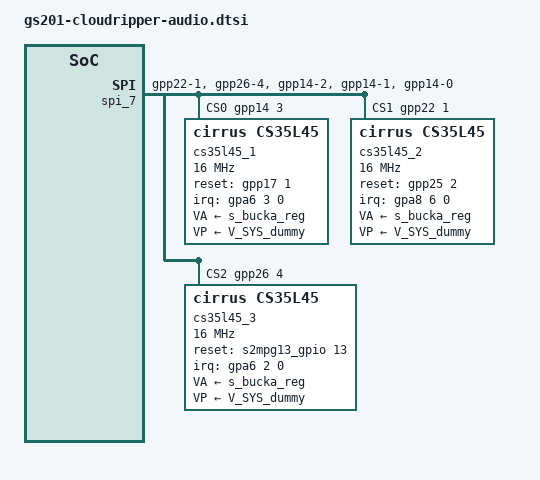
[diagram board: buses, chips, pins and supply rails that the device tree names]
// SPDX-License-Identifier: GPL-2.0-only
/*
 * Google GS201 Cloudripper-specific audio device tree source
 *
 * Copyright (c) 2021 Google, LLC
 *		https://www.google.com
 *
*/

#include <dt-bindings/pinctrl/samsung.h>
#include <dt-bindings/gpio/gpio.h>
#include <dt-bindings/sound/google-aoc.h>

&dai_be_tdm0_rx {
	codec {
		sound-dai = <&cs35l45_1 0>,
			<&cs35l45_2 0>;
	};
};

&dai_be_tdm0_tx {
	codec {
		sound-dai = <&cs35l45_1 0>,
			<&cs35l45_2 0>;
	};
};

&aoc_snd_card {
	clks {
		sys {
			sys@cs35l45_1 {
				comp = <&cs35l45_1>;
				src = "BCLK";
				/* clk id */
				id = <0>;
				/* clk source */
				srcid = <0>;
				/* in clk multiple */
				in_mul = <1>;
				/* out clk multiple */
				out_mul = <1>;
			};
			sys@cs35l45_2 {
				comp = <&cs35l45_2>;
				src = "BCLK";
				/* clk id */
				id = <0>;
				/* clk source */
				srcid = <0>;
				/* in clk multiple */
				in_mul = <1>;
				/* out clk multiple */
				out_mul = <1>;
			};
			sys@cs35l45_3 {
				comp = <&cs35l45_3>;
				src = "BCLK";
				/* clk id */
				id = <0>;
				/* clk source */
				srcid = <0>;
				/* in clk multiple */
				in_mul = <1>;
				/* out clk multiple */
				out_mul = <1>;
			};
		};
	};
};

/* GPIO_FAR_ALIVE */
&pinctrl_1 {
	cs35l45_1_irq: cs35l45-1-irq {
		samsung,pins = "gpa6-3"; /* XEINT_3 */
		samsung,pin-function = <EXYNOS_PIN_FUNC_EINT>;
		samsung,pin-pud = <EXYNOS_PIN_PULL_NONE>;
	};

	cs35l45_2_irq: cs35l45-2-irq {
		samsung,pins = "gpa8-6"; /* XEINT_26 */
		samsung,pin-function = <EXYNOS_PIN_FUNC_EINT>;
		samsung,pin-pud = <EXYNOS_PIN_PULL_NONE>;
	};

	cs35l45_3_irq: cs35l45-3-irq {
		samsung,pins = "gpa6-2"; /* XEINT_2 */
		samsung,pin-function = <EXYNOS_PIN_FUNC_EINT>;
		samsung,pin-pud = <EXYNOS_PIN_PULL_NONE>;
	};
};

/* GPIO_PERIC0 */
&pinctrl_4 {
	cs35l45_1_rst: cs35l45-1-rst {
		samsung,pins = "gpp17-1"; /* XAPC_VSYNC8 */
		samsung,pin-function = <EXYNOS_PIN_FUNC_OUTPUT>;
		samsung,pin-pud = <EXYNOS_PIN_PULL_NONE>;
		samsung,pin-con-pdn = <EXYNOS_PIN_PDN_PREV>;
		samsung,pin-pud-pdn = <EXYNOS_PIN_PULL_NONE>;
	};

	cs35l45_miso: cs35l45-miso {
		samsung,pins = "gpp14-2";
		samsung,pin-pud = <EXYNOS_PIN_PULL_DOWN>;
	};

	cs35l45_mosi: cs35l45-mosi {
		samsung,pins = "gpp14-1";
		samsung,pin-drv = <GS101_PIN_DRV_10_MA>;
	};

	cs35l45_clk: cs35l45-clk {
		samsung,pins = "gpp14-0";
		samsung,pin-drv = <GS101_PIN_DRV_10_MA>;
	};
};

&spi7_cs_func {
	samsung,pins = "gpp14-3";
	samsung,pin-drv = <GS101_PIN_DRV_5_MA>;
};

/* GPIO_PERIC1 */
&pinctrl_5 {
	cs35l45_2_rst: cs35l45-2-rst {
		samsung,pins = "gpp25-2"; /* XAPC_USI13_RTSN_DI */
		samsung,pin-function = <EXYNOS_PIN_FUNC_OUTPUT>;
		samsung,pin-pud = <EXYNOS_PIN_PULL_NONE>;
		samsung,pin-con-pdn = <EXYNOS_PIN_PDN_PREV>;
		samsung,pin-pud-pdn = <EXYNOS_PIN_PULL_NONE>;
	};

	cs35l45_cs2: cs35l45-cs2 {
		samsung,pins = "gpp22-1";
		samsung,pin-function = <EXYNOS_PIN_FUNC_OUTPUT>;
		samsung,pin-pud = <EXYNOS_PIN_PULL_NONE>;
		samsung,pin-drv = <GS101_PIN_DRV_5_MA>;
	};

	cs35l45_cs3: cs35l45-cs3 {
		samsung,pins = "gpp26-4";
		samsung,pin-function = <EXYNOS_PIN_FUNC_OUTPUT>;
		samsung,pin-pud = <EXYNOS_PIN_PULL_NONE>;
		samsung,pin-drv = <GS101_PIN_DRV_5_MA>;
	};
};

&s2mpg13_pinctrl {
	cs35l45_3_rst: cs35l45-3-rst {
	};
};


&spi_7 {
	#address-cells = <1>;
	#size-cells = <0>;
	status = "okay";

	pinctrl-names = "default";
	pinctrl-0 = <&spi7_bus &spi7_cs_func &cs35l45_cs2 &cs35l45_cs3
		     &cs35l45_miso &cs35l45_mosi &cs35l45_clk>;
	cs-gpios = <&gpp14 3 GPIO_ACTIVE_HIGH>, <&gpp22 1 GPIO_ACTIVE_HIGH>,
		   <&gpp26 4 GPIO_ACTIVE_HIGH>;

	cs35l45_1: cs35l45@0 {
		#sound-dai-cells = <1>;
		compatible = "cirrus,cs35l45";
		spi-max-frequency = <16000000>;
		reg = <0>;

		status = "okay";

		pinctrl-names = "default";
		pinctrl-0 = <&cs35l45_1_irq &cs35l45_1_rst>;

		interrupt-parent = <&gpa6>;
		interrupts = <3 0 0>;

		reset-gpios = <&gpp17 1 0>;

		VA-supply = <&s_bucka_reg>;
		VP-supply = <&V_SYS_dummy>;

		cirrus,use-tdm-slots;
		cirrus,asp-sdout-hiz-ctrl = <3>;
		/* cirrus,tuning-has-prefix;
		cirrus,left-channel-amp; */

		cirrus,gpio-ctrl2 {
			gpio-ctrl = <0x5>;
			gpio-invert = <1>;
		};

		controller-data {
			cs-gpio = <&gpp14 3 GPIO_ACTIVE_HIGH>;
			samsung,spi-feedback-delay = <1>;
			/* SET SPI CS CONTROL TO AUTOMATIC */
			samsung,spi-chip-select-mode = <1>;
		};
	};

	cs35l45_2: cs35l45@1 {
		#sound-dai-cells = <1>;
		sound-name-prefix = "R";
		compatible = "cirrus,cs35l45";
		spi-max-frequency = <16000000>;
		reg = <1>;

		status = "okay";

		pinctrl-names = "default";
		pinctrl-0 = <&cs35l45_2_irq &cs35l45_2_rst>;

		interrupt-parent = <&gpa8>;
		interrupts = <6 0 0>;

		reset-gpios = <&gpp25 2 0>;

		VA-supply = <&s_bucka_reg>;
		VP-supply = <&V_SYS_dummy>;

		cirrus,asp-sdout-hiz-ctrl = <3>;
		/*cirrus,tuning-has-prefix;
		cirrus,right-channel-amp;*/

		cirrus,gpio-ctrl2 {
			gpio-ctrl = <0x5>;
			gpio-invert = <1>;
		};

		controller-data {
			cs-gpio =<&gpp22 1 GPIO_ACTIVE_HIGH>;
			samsung,spi-feedback-delay = <1>;
			/* SET SPI CS CONTROL TO AUTOMATIC */
			samsung,spi-chip-select-mode = <1>;
		};
	};

	cs35l45_3: cs35l45@2 {
		#sound-dai-cells = <1>;
		sound-name-prefix = "E";
		compatible = "cirrus,cs35l45";
		spi-max-frequency = <16000000>;
		reg = <2>;

		status = "okay";

		pinctrl-names = "default";
		pinctrl-0 = <&cs35l45_3_irq>;

		interrupt-parent = <&gpa6>;
		interrupts = <2 0 0>;

		/* TODO: it is wrong, need to correct after pmic driver ready */
		reset-gpios = <&s2mpg13_gpio 13 0>;

		VA-supply = <&s_bucka_reg>;
		VP-supply = <&V_SYS_dummy>;

		cirrus,asp-sdout-hiz-ctrl = <3>;
		/*cirrus,tuning-has-prefix;
		cirrus,right-channel-amp;*/

		cirrus,gpio-ctrl2 {
			gpio-ctrl = <0x5>;
			gpio-invert = <1>;
		};

		controller-data {
			cs-gpio =<&gpp26 4 GPIO_ACTIVE_HIGH>;
			samsung,spi-feedback-delay = <1>;
			/* SET SPI CS CONTROL TO AUTOMATIC */
			samsung,spi-chip-select-mode = <1>;
		};
	};
};

&aoc {
	aoc-board-cfg = "cr";
};

/* MIC2 */
&m_ldo23_reg {
	regulator-always-on;
	regulator-initial-mode = <SEC_OPMODE_ON>;
};

/* MICVDD */
&s_ldo28_reg {
	regulator-always-on;
	regulator-initial-mode = <SEC_OPMODE_ON>;
};

/* ALC5682 */
&s_ldo4_reg {
	regulator-always-on;
	regulator-initial-mode = <SEC_OPMODE_ON>;
};
